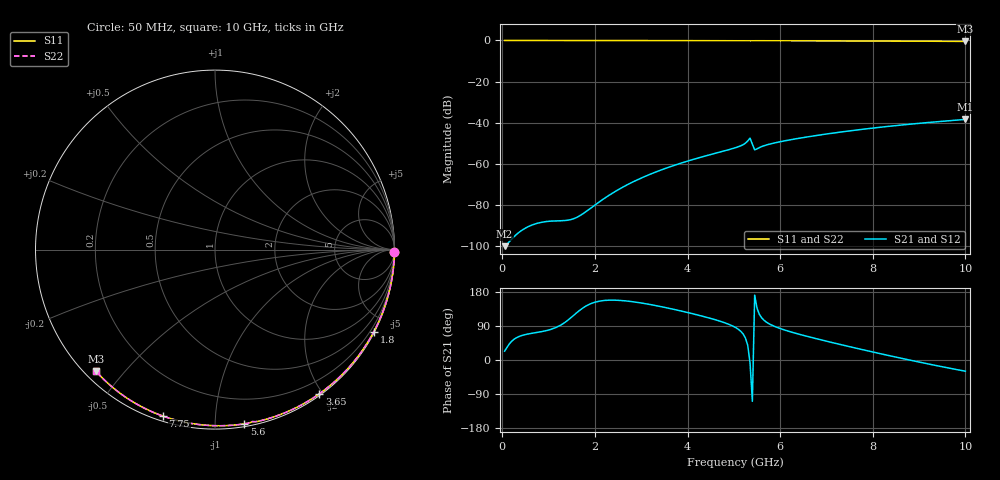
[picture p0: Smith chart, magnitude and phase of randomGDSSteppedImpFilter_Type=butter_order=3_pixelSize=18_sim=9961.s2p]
! freq	dB(S11)	phase(S11)	dB(S12)	phase(S12)
!  dB(S21)	phase(S21)	dB(S22)	phase(S22)
!S-par simulation data
#  GHz  S  DB  R 50
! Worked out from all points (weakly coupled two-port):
!   200 points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, 50 MHz to 10 GHz, reference 50 ohm
!   highest |S21| = -38.40 dB at 10 GHz (marker M1); lowest = -100.0 dB at 50 MHz (marker M2)
!   lowest |S11| = -0.5 dB at 10 GHz (marker M3), VSWR 37.60, Z = 1.57 - j21 ohm
!   |S11| at or under -10 dB: nowhere
!   |S22| runs from -0.5 to 0.0 dB; largest |S21 - S12| = 0
!   S11 on the Smith chart (normalised r, x): 50 MHz: open; 1.8 GHz: 0.04, -4.11; 3.65 GHz: 0.02, -1.96; 5.6 GHz: 0.02, -1.18; 7.75 GHz: 0.02, -0.73; 10 GHz: 0.03, -0.42
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0.05  -0.00 -0.8  -100.02 23.4  -100.02 23.4  -0.00 -0.8
0.9  -0.02 -13.8  -88.21 76.2  -88.21 76.2  -0.02 -13.8
1.75  -0.03 -26.6  -84.13 138.1  -84.13 138.1  -0.03 -26.6
1.8  -0.03 -27.3  -83.35 141.9  -83.35 141.9  -0.03 -27.3
2  -0.04 -30.3  -80.05 152.5  -80.05 152.5  -0.04 -30.3
2.35  -0.05 -35.5  -74.64 158.0  -74.64 158.0  -0.05 -35.5
2.65  -0.05 -39.9  -70.74 156.1  -70.74 156.1  -0.05 -39.9
3  -0.06 -44.9  -66.91 150.5  -66.91 150.5  -0.06 -44.9
3.4  -0.07 -50.6  -63.22 141.5  -63.22 141.5  -0.07 -50.6
3.65  -0.07 -54.2  -61.21 135.1  -61.21 135.1  -0.07 -54.2
4.35  -0.09 -63.9  -56.38 114.7  -56.38 114.7  -0.09 -63.9
5.05  -0.11 -73.3  -52.04 84.8  -52.04 84.8  -0.11 -73.3
5.25  -0.12 -76.1  -49.95 58.1  -49.95 58.1  -0.12 -76.1
5.35  -0.16 -77.5  -47.48 -7.9  -47.48 -7.9  -0.16 -77.5
5.45  -0.14 -78.4  -53.15 171.3  -53.15 171.3  -0.14 -78.4
5.6  -0.14 -80.4  -51.61 111.4  -51.61 111.4  -0.14 -80.5
6  -0.15 -85.6  -49.24 83.1  -49.24 83.1  -0.15 -85.7
6.7  -0.18 -94.5  -46.49 58.7  -46.49 58.7  -0.18 -94.5
7.75  -0.25 -107.4  -43.27 28.1  -43.27 28.1  -0.25 -107.4
8.35  -0.29 -114.6  -41.74 11.6  -41.74 11.6  -0.29 -114.6
9.15  -0.37 -124.2  -39.99 -9.2  -39.99 -9.2  -0.37 -124.2
10  -0.46 -134.3  -38.40 -29.6  -38.40 -29.6  -0.46 -134.4
